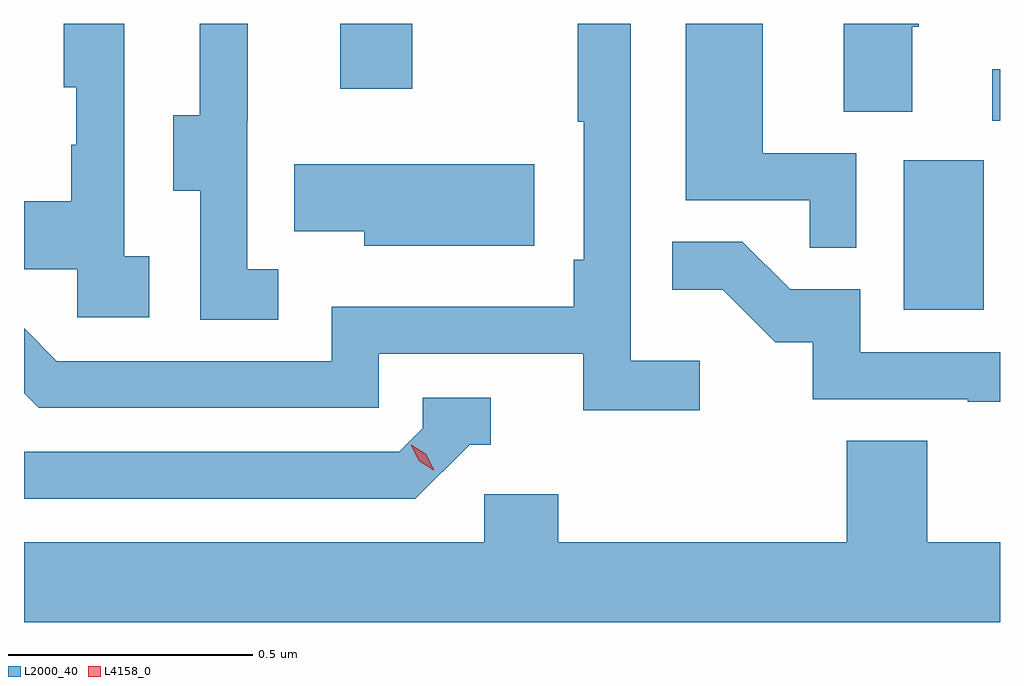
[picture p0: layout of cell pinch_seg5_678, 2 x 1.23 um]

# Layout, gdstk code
import gdstk
lib = gdstk.Library(unit=1e-6, precision=1e-09)
def R(c, l, rs):  # rectangles x0, y0, x1, y1
    for r in rs: c.add(gdstk.rectangle(r[:2], r[2:], *l))
def P(c, l, *ps):  # polygons
    for p in ps: c.add(gdstk.Polygon(p, *l))
L2000_40 = (2000, 40)
L4158_0 = (4158, 0)

pinch_seg5_678 = lib.new_cell('pinch_seg5_678')
R(pinch_seg5_678, L2000_40, [(1045.37,845.412,1045.534,845.719), (1045.551,845.799,1045.567,845.905), (1044.215,845.865,1044.363,845.998)])
P(pinch_seg5_678, L2000_40, [(1045.387,845.992),(1045.4,845.992),(1045.4,845.998),(1045.247,845.998),(1045.247,845.818),(1045.387,845.818)],
  [(1044.952,845.308),(1044.81,845.308),(1044.81,845.998),(1044.702,845.998),(1044.702,845.797),(1044.714,845.797),(1044.714,845.515),(1044.694,845.515),(1044.694,845.418),(1044.198,845.418),(1044.198,845.307),(1043.634,845.307),(1043.567,845.374),(1043.567,845.241),(1043.597,845.211),(1044.294,845.211),(1044.294,845.322),(1044.713,845.322),(1044.713,845.206),(1044.952,845.206)],
  [(1043.824,845.522),(1043.772,845.522),(1043.772,845.998),(1043.648,845.998),(1043.648,845.868),(1043.674,845.868),(1043.674,845.75),(1043.664,845.75),(1043.664,845.635),(1043.567,845.635),(1043.567,845.495),(1043.676,845.495),(1043.676,845.397),(1043.824,845.397)],
  [(1044.088,845.495),(1044.024,845.495),(1044.024,845.799),(1044.026,845.799),(1044.026,845.998),(1043.927,845.998),(1043.927,845.811),(1043.873,845.811),(1043.873,845.656),(1043.928,845.656),(1043.928,845.392),(1044.088,845.392)],
  [(1045.272,845.733),(1045.081,845.733),(1045.081,845.998),(1044.923,845.998),(1044.923,845.637),(1045.177,845.637),(1045.177,845.539),(1045.272,845.539)],
  [(1044.613,845.71),(1044.121,845.71),(1044.121,845.573),(1044.264,845.573),(1044.264,845.543),(1044.613,845.543)],
  [(1045.567,845.325),(1045.281,845.325),(1045.281,845.454),(1045.137,845.454),(1045.039,845.552),(1044.895,845.552),(1044.895,845.453),(1044.999,845.453),(1045.106,845.346),(1045.183,845.346),(1045.183,845.229),(1045.501,845.229),(1045.501,845.224),(1045.567,845.224)],
  [(1044.48,845.136),(1044.523,845.136),(1044.523,845.232),(1044.384,845.232),(1044.384,845.169),(1044.336,845.121),(1043.567,845.121),(1043.567,845.025),(1044.369,845.025)],
  [(1045.567,844.936),(1045.418,844.936),(1045.418,845.144),(1045.253,845.144),(1045.253,844.936),(1044.662,844.936),(1044.662,845.034),(1044.51,845.034),(1044.51,844.936),(1043.567,844.936),(1043.567,844.772),(1045.567,844.772)])
P(pinch_seg5_678, L4158_0, [(1044.407,845.083),(1044.376,845.103),(1044.361,845.135),(1044.361,845.136),(1044.361,845.136),(1044.391,845.116),(1044.407,845.084),(1044.407,845.083)])

lib.write_gds('pinch_seg5_678.gds')
